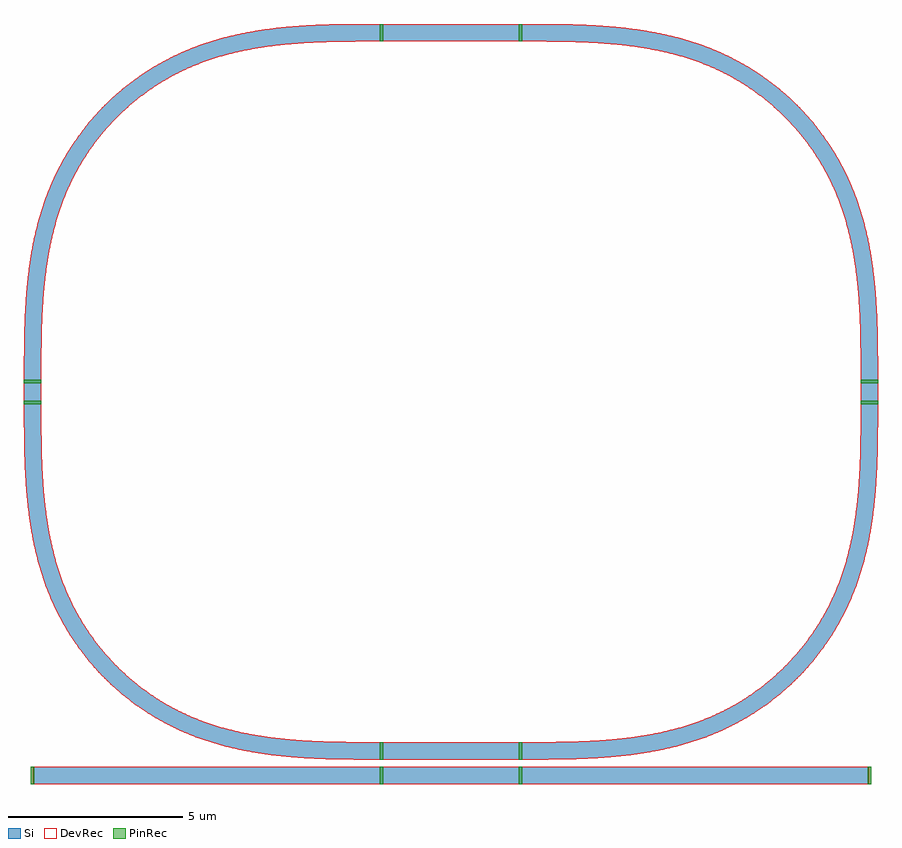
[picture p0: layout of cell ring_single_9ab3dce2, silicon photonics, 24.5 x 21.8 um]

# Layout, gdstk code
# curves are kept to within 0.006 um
from math import pi, radians
import gdstk
lib = gdstk.Library(unit=1e-6, precision=1e-09)
def R(c, l, rs):  # rectangles x0, y0, x1, y1
    for r in rs: c.add(gdstk.rectangle(r[:2], r[2:], *l))
def P(c, l, *ps):  # polygons
    for p in ps: c.add(gdstk.Polygon(p, *l))
Si = (1, 0)
PinRec = (1, 10)
DevRec = (68, 0)

bend_euler_radius10p0 = lib.new_cell('bend_euler_radius10p0')
P(bend_euler_radius10p0, Si, [(0,-0.25),(1.498,-0.236),(2.158,-0.208),(2.724,-0.165),(3.196,-0.113),(3.761,-0.026),(4.229,0.069),(4.739,0.201),(5.242,0.365),(5.691,0.544),(6.13,0.754),(6.428,0.918),(6.841,1.176),(7.158,1.402),(7.536,1.707),(7.859,2.003),(8.196,2.354),(8.479,2.689),(8.797,3.119),(9.033,3.488),(9.246,3.87),(9.456,4.309),(9.635,4.758),(9.799,5.261),(9.931,5.771),(10.026,6.239),(10.113,6.804),(10.165,7.276),(10.208,7.842),(10.236,8.502),(10.25,10),(9.75,10),(9.747,9.071),(9.727,8.239),(9.694,7.643),(9.634,7.004),(9.55,6.417),(9.463,5.971),(9.319,5.401),(9.18,4.971),(9.034,4.593),(8.884,4.263),(8.717,3.941),(8.508,3.59),(8.306,3.29),(8.088,3),(7.824,2.688),(7.575,2.425),(7.312,2.176),(7,1.912),(6.71,1.694),(6.41,1.492),(6.059,1.283),(5.737,1.116),(5.407,0.966),(5.029,0.82),(4.599,0.681),(4.029,0.537),(3.583,0.45),(2.996,0.366),(2.357,0.306),(1.761,0.273),(0.929,0.253),(0,0.25)])
R(bend_euler_radius10p0, PinRec, [(-0.05,-0.25,0.05,0.25), (9.75,9.95,10.25,10.05)])
P(bend_euler_radius10p0, DevRec, [(0,-0.25),(1.498,-0.236),(2.158,-0.208),(2.724,-0.165),(3.196,-0.113),(3.761,-0.026),(4.229,0.069),(4.739,0.201),(5.242,0.365),(5.691,0.544),(6.13,0.754),(6.428,0.918),(6.841,1.176),(7.158,1.402),(7.536,1.707),(7.859,2.003),(8.196,2.354),(8.479,2.689),(8.797,3.119),(9.033,3.488),(9.246,3.87),(9.456,4.309),(9.635,4.758),(9.799,5.261),(9.931,5.771),(10.026,6.239),(10.113,6.804),(10.165,7.276),(10.208,7.842),(10.236,8.502),(10.25,10),(9.75,10),(9.747,9.071),(9.727,8.239),(9.694,7.643),(9.634,7.004),(9.55,6.417),(9.463,5.971),(9.319,5.401),(9.18,4.971),(9.034,4.593),(8.884,4.263),(8.717,3.941),(8.508,3.59),(8.306,3.29),(8.088,3),(7.824,2.688),(7.575,2.425),(7.312,2.176),(7,1.912),(6.71,1.694),(6.41,1.492),(6.059,1.283),(5.737,1.116),(5.407,0.966),(5.029,0.82),(4.599,0.681),(4.029,0.537),(3.583,0.45),(2.996,0.366),(2.357,0.306),(1.761,0.273),(0.929,0.253),(0,0.25)])
bend_euler_radius10p0.add(gdstk.FlexPath([(0.05,0),(-0.05,0)], 0.5, ends="flush", simple_path=True, layer=1, datatype=10))  # PinRec
bend_euler_radius10p0.add(gdstk.FlexPath([(10,9.95),(10,10.05)], 0.5, ends="flush", simple_path=True, layer=1, datatype=10))  # PinRec
bend_euler_radius10p0.add(gdstk.Label('o1', (0,0), layer=1, texttype=10))
bend_euler_radius10p0.add(gdstk.Label('o2', (10,10), layer=1, texttype=10))

straight = lib.new_cell('straight')
R(straight, Si, [(0,-0.25,10,0.25)])
R(straight, PinRec, [(-0.05,-0.25,0.05,0.25), (9.95,-0.25,10.05,0.25)])
R(straight, DevRec, [(0,-0.25,10,0.25)])
straight.add(gdstk.FlexPath([(0.05,0),(-0.05,0)], 0.5, ends="flush", simple_path=True, layer=1, datatype=10))  # PinRec
straight.add(gdstk.FlexPath([(9.95,0),(10.05,0)], 0.5, ends="flush", simple_path=True, layer=1, datatype=10))  # PinRec
straight.add(gdstk.Label('o1', (0,0), layer=1, texttype=10))
straight.add(gdstk.Label('o2', (10,0), layer=1, texttype=10))

coupler90_896d5990 = lib.new_cell('coupler90_896d5990')
coupler90_896d5990.add(gdstk.Reference(bend_euler_radius10p0, (0,0.7)))
coupler90_896d5990.add(gdstk.Reference(straight, (0,0)))

straight_length4p0 = lib.new_cell('straight_length4p0')
R(straight_length4p0, Si, [(0,-0.25,4,0.25)])
R(straight_length4p0, PinRec, [(-0.05,-0.25,0.05,0.25), (3.95,-0.25,4.05,0.25)])
R(straight_length4p0, DevRec, [(0,-0.25,4,0.25)])
straight_length4p0.add(gdstk.FlexPath([(0.05,0),(-0.05,0)], 0.5, ends="flush", simple_path=True, layer=1, datatype=10))  # PinRec
straight_length4p0.add(gdstk.FlexPath([(3.95,0),(4.05,0)], 0.5, ends="flush", simple_path=True, layer=1, datatype=10))  # PinRec
straight_length4p0.add(gdstk.Label('o1', (0,0), layer=1, texttype=10))
straight_length4p0.add(gdstk.Label('o2', (4,0), layer=1, texttype=10))

coupler_straight_769ef0d = lib.new_cell('coupler_straight_769ef0d8')
coupler_straight_769ef0d.add(gdstk.Reference(straight_length4p0, (0,0.7)))
coupler_straight_769ef0d.add(gdstk.Reference(straight_length4p0, (0,0)))

coupler_ring_a551ad66 = lib.new_cell('coupler_ring_a551ad66')
coupler_ring_a551ad66.add(gdstk.Reference(coupler90_896d5990, (-4,0), rotation=pi, x_reflection=True))
coupler_ring_a551ad66.add(gdstk.Reference(coupler90_896d5990, (0,0)))
coupler_ring_a551ad66.add(gdstk.Reference(coupler_straight_769ef0d, (-4,0)))

straight_length0p6 = lib.new_cell('straight_length0p6')
R(straight_length0p6, Si, [(0,-0.25,0.6,0.25)])
R(straight_length0p6, PinRec, [(-0.05,-0.25,0.05,0.25), (0.55,-0.25,0.65,0.25)])
R(straight_length0p6, DevRec, [(0,-0.25,0.6,0.25)])
straight_length0p6.add(gdstk.FlexPath([(0.05,0),(-0.05,0)], 0.5, ends="flush", simple_path=True, layer=1, datatype=10))  # PinRec
straight_length0p6.add(gdstk.FlexPath([(0.55,0),(0.65,0)], 0.5, ends="flush", simple_path=True, layer=1, datatype=10))  # PinRec
straight_length0p6.add(gdstk.Label('o1', (0,0), layer=1, texttype=10))
straight_length0p6.add(gdstk.Label('o2', (0.6,0), layer=1, texttype=10))

ring_single_9ab3dce2 = lib.new_cell('ring_single_9ab3dce2')
ring_single_9ab3dce2.add(gdstk.Reference(coupler_ring_a551ad66, (0,0)))
ring_single_9ab3dce2.add(gdstk.Reference(straight_length0p6, (-14,10.7), rotation=pi/2))
ring_single_9ab3dce2.add(gdstk.Reference(straight_length0p6, (10,11.3), rotation=3*pi/2))
ring_single_9ab3dce2.add(gdstk.Reference(bend_euler_radius10p0, (-4,21.3), rotation=pi))
ring_single_9ab3dce2.add(gdstk.Reference(bend_euler_radius10p0, (10,11.3), rotation=pi/2))
ring_single_9ab3dce2.add(gdstk.Reference(straight_length4p0, (0,21.3), rotation=pi))

lib.write_gds('ring_single_9ab3dce2.gds')
